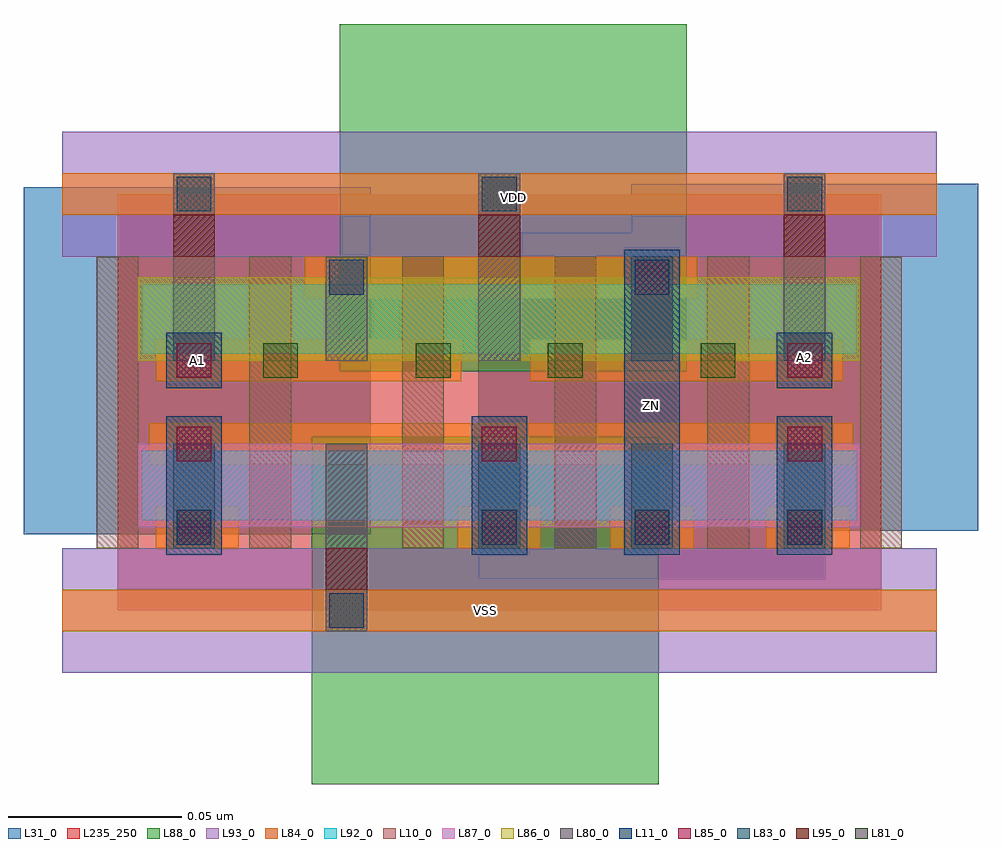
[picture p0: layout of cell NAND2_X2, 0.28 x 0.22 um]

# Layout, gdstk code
import gdstk
lib = gdstk.Library(unit=1e-6, precision=1e-09)
def R(c, l, rs):  # rectangles x0, y0, x1, y1
    for r in rs: c.add(gdstk.rectangle(r[:2], r[2:], *l))
def A(c, l, x, y, w, h, nx, ny, dx, dy):  # array of equal rectangles
    R(c, l, [(x+i*dx, y+j*dy, x+i*dx+w, y+j*dy+h) for i in range(nx) for j in range(ny)])
L10_0 = (10, 0)
L11_0 = (11, 0)
L31_0 = (31, 0)
L80_0 = (80, 0)
L81_0 = (81, 0)
L83_0 = (83, 0)
L84_0 = (84, 0)
L85_0 = (85, 0)
L86_0 = (86, 0)
L87_0 = (87, 0)
L88_0 = (88, 0)
L92_0 = (92, 0)
L93_0 = (93, 0)
L95_0 = (95, 0)
L235_250 = (235, 250)

nand2_x2 = lib.new_cell('NAND2_X2')
A(nand2_x2, L10_0, -0.006, 0.018, 0.012, 0.084, 6, 1, 0.044, 0)
A(nand2_x2, L11_0, 0.014, 0.016, 0.016, 0.04, 3, 1, 0.088, 0)
R(nand2_x2, L11_0, [(0.146,0.016,0.162,0.104), (0.014,0.064,0.03,0.08), (0.19,0.064,0.206,0.08)])
R(nand2_x2, L31_0, [(0.104,0.009,0.204,0.109), (-0.027,0.022,0.073,0.122), (0.148,0.023,0.248,0.123)])
A(nand2_x2, L80_0, 0.104, 0.018, 0.012, 0.03, 3, 1, 0.044, 0)
A(nand2_x2, L80_0, 0.016, 0.072, 0.012, 0.054, 3, 1, 0.088, 0)
R(nand2_x2, L80_0, [(0.06,-0.006,0.072,0.048), (0.016,0.018,0.028,0.048), (0.06,0.072,0.072,0.102), (0.148,0.072,0.16,0.102)])
R(nand2_x2, L81_0, [(0.042,0.067,0.052,0.077), (0.086,0.067,0.096,0.077), (0.124,0.067,0.134,0.077), (0.168,0.067,0.178,0.077)])
A(nand2_x2, L83_0, 0.105, 0.019, 0.01, 0.01, 3, 1, 0.044, 0)
A(nand2_x2, L83_0, 0.017, 0.115, 0.01, 0.01, 3, 1, 0.088, 0)
R(nand2_x2, L83_0, [(0.061,-0.005,0.071,0.005), (0.017,0.019,0.027,0.029), (0.061,0.091,0.071,0.101), (0.149,0.091,0.159,0.101)])
R(nand2_x2, L84_0, [(-0.016,-0.006,0.236,0.006), (0.011,0.018,0.035,0.03), (0.098,0.018,0.122,0.03), (0.142,0.018,0.166,0.03), (0.187,0.018,0.211,0.03), (0.009,0.042,0.212,0.054), (0.011,0.066,0.099,0.078), (0.119,0.066,0.209,0.078), (0.054,0.09,0.167,0.102), (-0.016,0.114,0.236,0.126)])
A(nand2_x2, L85_0, 0.105, 0.019, 0.01, 0.01, 3, 1, 0.044, 0)
A(nand2_x2, L85_0, 0.017, 0.043, 0.01, 0.01, 3, 1, 0.088, 0)
R(nand2_x2, L85_0, [(0.017,0.019,0.027,0.029), (0.017,0.067,0.027,0.077), (0.193,0.067,0.203,0.077), (0.149,0.091,0.159,0.101)])
R(nand2_x2, L86_0, [(0.006,0.072,0.214,0.096)])
R(nand2_x2, L87_0, [(0.006,0.024,0.214,0.048)])
R(nand2_x2, L88_0, [(0.056,-0.05,0.156,0.05), (0.064,0.069,0.164,0.169)])
R(nand2_x2, L92_0, [(0.007,0.026,0.213,0.046), (0.007,0.074,0.213,0.094)])
R(nand2_x2, L93_0, [(-0.016,-0.018,0.236,0.018), (-0.016,0.102,0.236,0.138)])
A(nand2_x2, L95_0, 0.016, 0.102, 0.012, 0.012, 3, 1, 0.088, 0)
R(nand2_x2, L95_0, [(0.06,0.006,0.072,0.018)])
R(nand2_x2, L235_250, [(0,0,0.22,0.12)])
nand2_x2.add(gdstk.Label('VSS', (0.106,0), layer=88, texttype=0))
nand2_x2.add(gdstk.Label('VDD', (0.114,0.119), layer=88, texttype=0))
nand2_x2.add(gdstk.Label('ZN', (0.154,0.059), layer=31, texttype=0))
nand2_x2.add(gdstk.Label('A2', (0.198,0.073), layer=31, texttype=0))
nand2_x2.add(gdstk.Label('A1', (0.023,0.072), layer=31, texttype=0))

lib.write_gds('NAND2_X2.gds')
